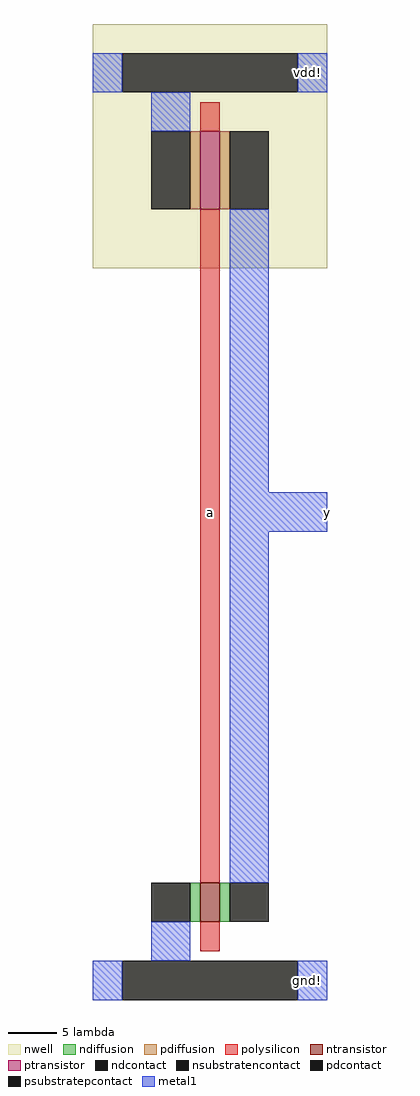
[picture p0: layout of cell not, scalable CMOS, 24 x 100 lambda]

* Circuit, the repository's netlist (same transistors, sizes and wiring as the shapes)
* SPICE3 file created from /output/not/not.ext - technology: scmos

.option scale=0.12u

M1000 y a gnd Gnd nfet w=4 l=2
+  ad=20 pd=18 as=20 ps=18
M1001 y a vdd vdd pfet w=8 l=2
+  ad=40 pd=26 as=40 ps=26

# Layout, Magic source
magic
tech scmos
<< nwell >>
rect 0 75 24 100
<< ntransistor >>
rect 11 8 13 12
<< ptransistor >>
rect 11 81 13 89
<< ndiffusion >>
rect 10 8 11 12
rect 13 8 14 12
<< pdiffusion >>
rect 10 81 11 89
rect 13 81 14 89
<< ndcontact >>
rect 6 8 10 12
rect 14 8 18 12
<< pdcontact >>
rect 6 81 10 89
rect 14 81 18 89
<< psubstratepcontact >>
rect 3 0 21 4
<< nsubstratencontact >>
rect 3 93 21 97
<< polysilicon >>
rect 11 89 13 92
rect 11 12 13 81
rect 11 5 13 8
<< metal1 >>
rect 0 93 3 97
rect 21 93 24 97
rect 6 89 10 93
rect 14 52 18 81
rect 14 48 24 52
rect 14 12 18 48
rect 6 4 10 8
rect 0 0 3 4
rect 21 0 24 4
<< labels >>
rlabel metal1 22 2 22 2 8 gnd!
rlabel metal1 22 95 22 95 6 vdd!
rlabel metal1 24 48 24 52 7 y
rlabel polysilicon 12 50 12 50 1 a
<< end >>
